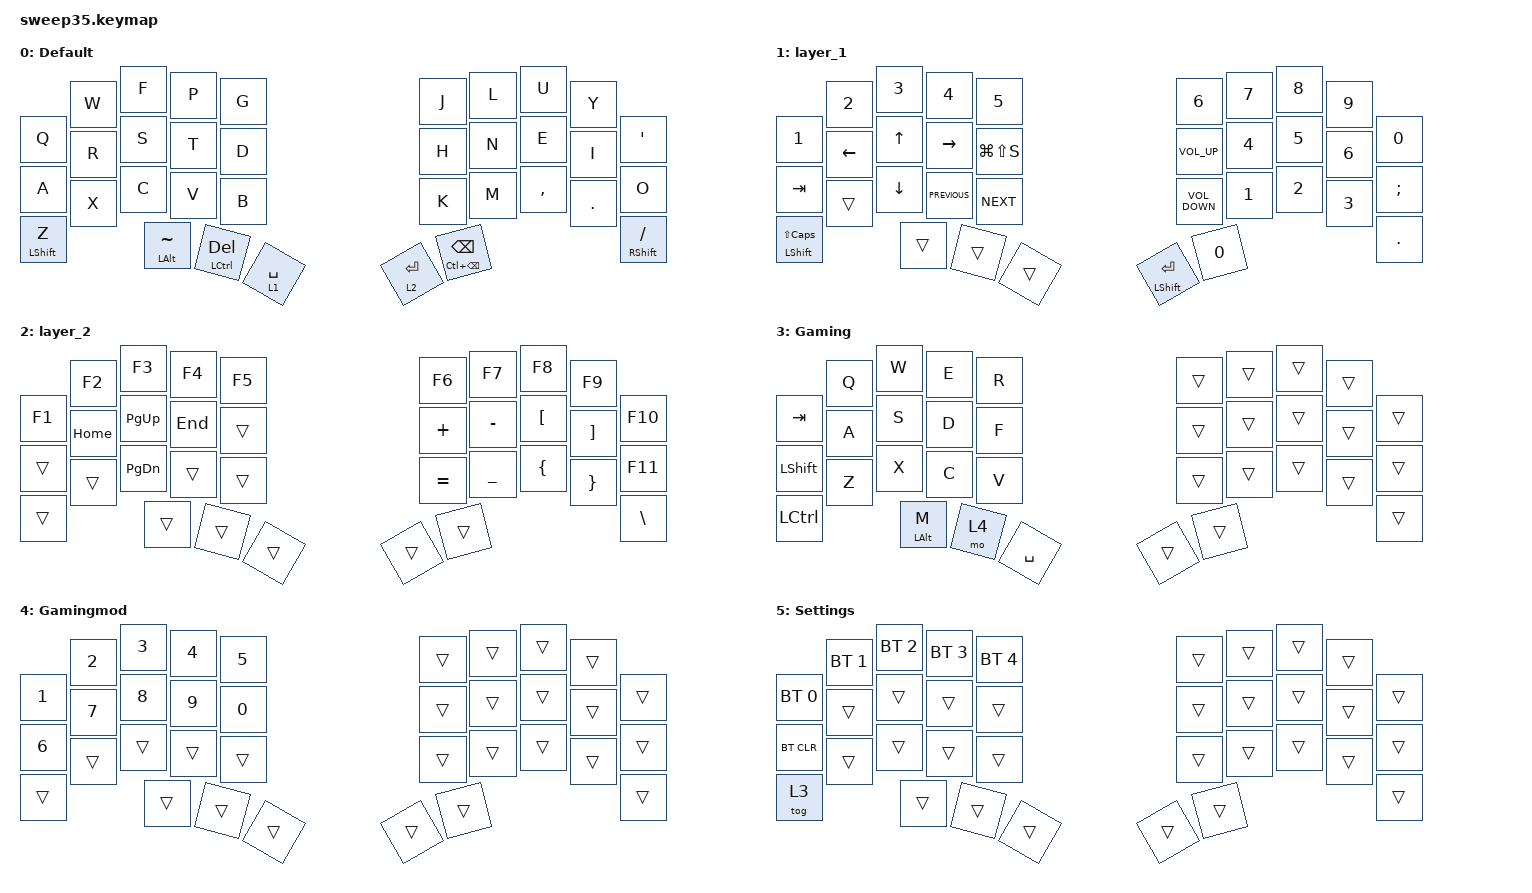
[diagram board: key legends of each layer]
#include <behaviors.dtsi>
#include <dt-bindings/zmk/bt.h>
#include <dt-bindings/zmk/keys.h>

/ {
    combos {
        compatible = "zmk,combos";

        Settingsmenu {
            bindings = <&mo 5>;
            key-positions = <30 31 32>;
        };

        Escape {
            bindings = <&kp ESCAPE>;
            key-positions = <0 1>;
        };

        left_win {
            bindings = <&kp LEFT_WIN>;
            key-positions = <34 33>;
        };

        ctrl_alt_del {
            bindings = <&kp LC(LA(DELETE))>;
            key-positions = <31 30 32 24>;
        };

        Mouse_Jump {
            bindings = <&kp LG(LS(D))>;
            key-positions = <0 10 20>;
        };
    };

    keymap {
        compatible = "zmk,keymap";

        Default {
            bindings = <
  &kp Q             &kp W  &kp F           &kp P             &kp G          &kp J        &kp L                   &kp U      &kp Y    &kp APOS
  &kp A             &kp R  &kp S           &kp T             &kp D          &kp H        &kp N                   &kp E      &kp I    &kp O
  &mt LEFT_SHIFT Z  &kp X  &kp C           &kp V             &kp B          &kp K        &kp M                   &kp COMMA  &kp DOT  &mt RIGHT_SHIFT FSLH
                           &mt LALT TILDE  &mt LCTRL DELETE  &lt 1 SPACE    &lt 2 ENTER  &mt LC(BSPC) BACKSPACE
            >;
        };

        layer_1 {
            bindings = <
  &kp N1                   &kp N2    &kp N3    &kp N4          &kp N5           &kp N6                &kp N7  &kp N8  &kp N9  &kp N0
  &kp TAB                  &kp LEFT  &kp UP    &kp RIGHT       &kp LG(LS(S))    &kp C_VOLUME_UP       &kp N4  &kp N5  &kp N6  &kp SEMI
  &mt LEFT_SHIFT LS(CAPS)  &trans    &kp DOWN  &kp C_PREVIOUS  &kp C_NEXT       &kp C_VOLUME_DOWN     &kp N1  &kp N2  &kp N3  &kp DOT
                                     &trans    &trans          &trans           &mt LEFT_SHIFT ENTER  &kp N0
            >;
        };

        layer_2 {
            bindings = <
  &kp F1  &kp F2    &kp F3         &kp F4   &kp F5    &kp F6     &kp F7          &kp F8          &kp F9           &kp F10
  &trans  &kp HOME  &kp PAGE_UP    &kp END  &trans    &kp PLUS   &kp MINUS       &kp LBKT        &kp RBKT         &kp F11
  &trans  &trans    &kp PAGE_DOWN  &trans   &trans    &kp EQUAL  &kp UNDERSCORE  &kp LEFT_BRACE  &kp RIGHT_BRACE  &kp BACKSLASH
                    &trans         &trans   &trans    &trans     &trans
            >;
        };

        Gaming {
            bindings = <
  &kp TAB    &kp Q  &kp W           &kp E  &kp R        &trans  &trans  &trans  &trans  &trans
  &kp LSHFT  &kp A  &kp S           &kp D  &kp F        &trans  &trans  &trans  &trans  &trans
  &kp LCTRL  &kp Z  &kp X           &kp C  &kp V        &trans  &trans  &trans  &trans  &trans
                    &mt LEFT_ALT M  &mo 4  &kp SPACE    &trans  &trans
            >;
        };

        Gamingmod {
            bindings = <
  &kp NUMBER_1  &kp NUMBER_2  &kp NUMBER_3  &kp NUMBER_4  &kp N5    &trans  &trans  &trans  &trans  &trans
  &kp NUMBER_6  &kp N7        &kp N8        &kp N9        &kp N0    &trans  &trans  &trans  &trans  &trans
  &trans        &trans        &trans        &trans        &trans    &trans  &trans  &trans  &trans  &trans
                              &trans        &trans        &trans    &trans  &trans
            >;
        };

        Settings {
            bindings = <
  &bt BT_SEL 0  &bt BT_SEL 1  &bt BT_SEL 2  &bt BT_SEL 3  &bt BT_SEL 4    &trans  &trans  &trans  &trans  &trans
  &bt BT_CLR    &trans        &trans        &trans        &trans          &trans  &trans  &trans  &trans  &trans
  &tog 3        &trans        &trans        &trans        &trans          &trans  &trans  &trans  &trans  &trans
                              &trans        &trans        &trans          &trans  &trans
            >;
        };
    };
};
